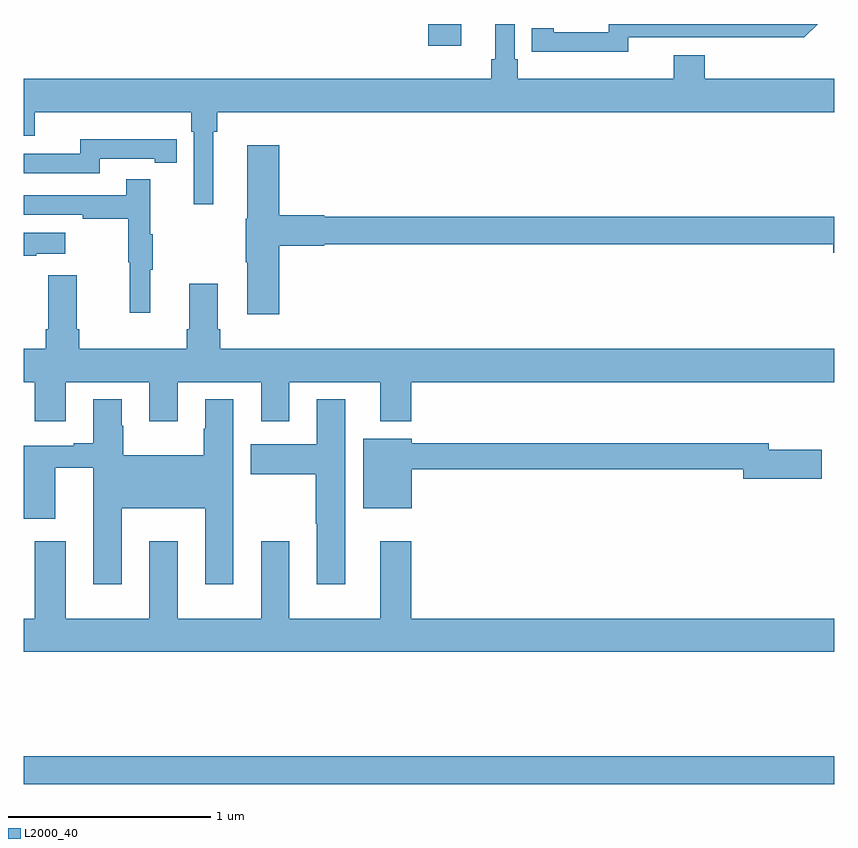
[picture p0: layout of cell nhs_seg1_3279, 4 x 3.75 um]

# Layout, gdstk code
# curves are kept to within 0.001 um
import gdstk
lib = gdstk.Library(unit=1e-6, precision=1e-09)
def R(c, l, rs):  # rectangles x0, y0, x1, y1
    for r in rs: c.add(gdstk.rectangle(r[:2], r[2:], *l))
def P(c, l, *ps):  # polygons
    for p in ps: c.add(gdstk.Polygon(p, *l))
L2000_40 = (2000, 40)

nhs_seg1_3279 = lib.new_cell('nhs_seg1_3279')
R(nhs_seg1_3279, L2000_40, [(289,516.448,293,516.584), (290.996,520.092,291.16,520.199)])
P(nhs_seg1_3279, L2000_40, [(293,519.928),(292.361,519.928),(292.361,520.045),(292.208,520.045),(292.208,519.928),(291.437,519.928),(291.437,520.024),(291.423,520.024),(291.423,520.199),(291.326,520.199),(291.326,520.024),(291.307,520.024),(291.307,519.928),(289,519.928),(289,519.647),(289.054,519.647),(289.054,519.764),(289.826,519.764),(289.826,519.668),(289.839,519.668),(289.839,519.309),(289.936,519.309),(289.936,519.668),(289.955,519.668),(289.955,519.764),(293,519.764)],
  [(291.984,520.134),(292.852,520.133),(292.919,520.199),(291.888,520.199),(291.888,520.158),(291.616,520.158),(291.616,520.178),(291.508,520.178),(291.508,520.062),(291.984,520.061)],
  [(289.374,519.534),(289.646,519.534),(289.646,519.514),(289.754,519.514),(289.754,519.63),(289.646,519.63),(289.646,519.631),(289.278,519.631),(289.278,519.558),(289,519.558),(289,519.462),(289.374,519.462)],
  [(290.261,519.104),(290.484,519.104),(290.484,519.112),(292.994,519.112),(292.994,519.07),(293,519.07),(293,519.248),(290.484,519.248),(290.484,519.256),(290.261,519.256),(290.261,519.601),(290.102,519.601),(290.102,519.237),(290.095,519.237),(290.095,519.023),(290.102,519.023),(290.102,518.766),(290.261,518.766)],
  [(289.625,518.987),(289.636,518.987),(289.636,519.161),(289.625,519.161),(289.625,519.433),(289.507,519.433),(289.507,519.354),(289,519.354),(289,519.258),(289.291,519.258),(289.291,519.238),(289.515,519.238),(289.515,519.024),(289.522,519.024),(289.522,518.775),(289.625,518.775)],
  [(289.061,519.065),(289.204,519.065),(289.204,519.169),(289,519.169),(289,519.055),(289.061,519.055)],
  [(289.207,518.432),(289.619,518.432),(289.619,518.238),(289.759,518.238),(289.759,518.432),(290.171,518.432),(290.171,518.238),(290.311,518.238),(290.311,518.432),(290.759,518.432),(290.759,518.238),(290.912,518.238),(290.912,518.432),(293,518.432),(293,518.596),(289.97,518.596),(289.97,518.692),(289.957,518.692),(289.957,518.917),(289.817,518.917),(289.817,518.692),(289.805,518.692),(289.805,518.596),(289.274,518.596),(289.274,518.692),(289.261,518.692),(289.261,518.959),(289.121,518.959),(289.121,518.692),(289.109,518.692),(289.109,518.596),(289,518.596),(289,518.432),(289.055,518.432),(289.055,518.238),(289.207,518.238)],
  [(289.483,517.808),(289.895,517.808),(289.895,517.434),(290.035,517.434),(290.035,518.347),(289.895,518.347),(289.895,518.201),(289.888,518.201),(289.888,518.071),(289.491,518.071),(289.491,518.215),(289.483,518.215),(289.483,518.347),(289.343,518.347),(289.343,518.131),(289.247,518.131),(289.247,518.118),(289,518.118),(289,517.758),(289.156,517.758),(289.156,518.01),(289.343,518.01),(289.343,517.434),(289.483,517.434)],
  [(290.587,518.347),(290.447,518.347),(290.447,518.125),(290.12,518.125),(290.12,517.978),(290.44,517.978),(290.44,517.732),(290.447,517.732),(290.447,517.434),(290.587,517.434)],
  [(290.914,518.002),(292.55,518.002),(292.55,517.955),(292.939,517.955),(292.939,518.097),(292.678,518.097),(292.678,518.131),(290.914,518.131),(290.914,518.152),(290.675,518.152),(290.675,517.808),(290.914,517.808)],
  [(293,517.264),(290.912,517.264),(290.912,517.645),(290.759,517.645),(290.759,517.264),(290.311,517.264),(290.311,517.645),(290.171,517.645),(290.171,517.264),(289.759,517.264),(289.759,517.645),(289.619,517.645),(289.619,517.264),(289.207,517.264),(289.207,517.645),(289.055,517.645),(289.055,517.264),(289,517.264),(289,517.1),(293,517.1)])

lib.write_gds('nhs_seg1_3279.gds')
